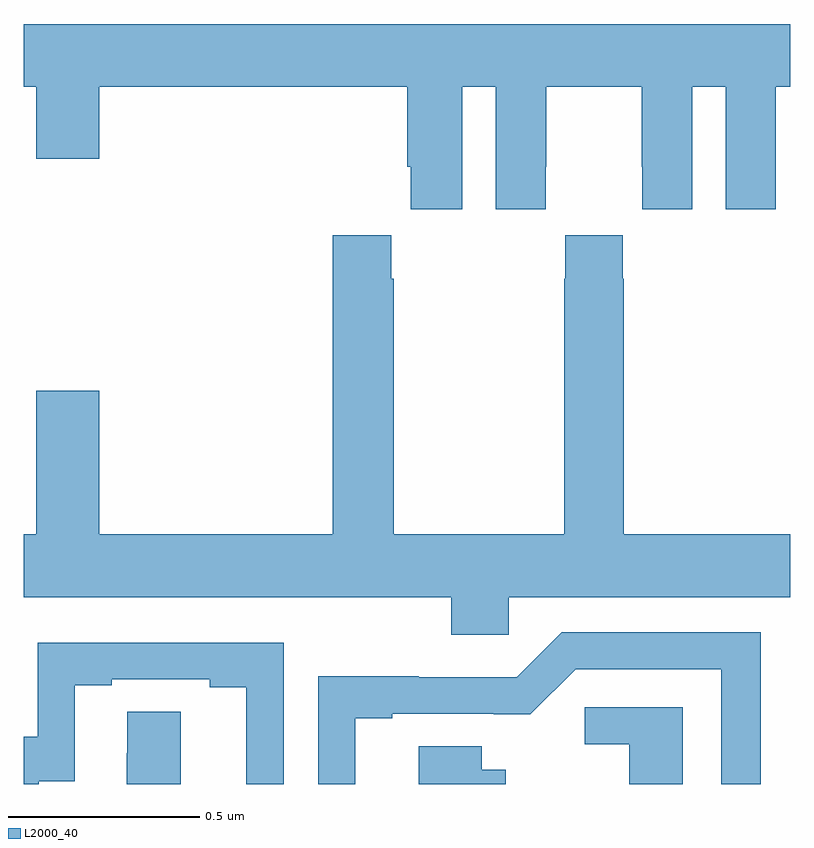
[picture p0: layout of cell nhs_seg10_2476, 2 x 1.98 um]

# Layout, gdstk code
import gdstk
lib = gdstk.Library(unit=1e-6, precision=1e-09)
def P(c, l, *ps):  # polygons
    for p in ps: c.add(gdstk.Polygon(p, *l))
L2000_40 = (2000, 40)

nhs_seg10_2476 = lib.new_cell('nhs_seg10_2476')
P(nhs_seg10_2476, L2000_40, [(142.144,1296.32),(142.232,1296.32),(142.232,1296),(142.362,1296),(142.362,1296.112),(142.363,1296.112),(142.363,1296.32),(142.613,1296.32),(142.613,1296.112),(142.614,1296.112),(142.614,1296),(142.744,1296),(142.744,1296.32),(142.832,1296.32),(142.832,1296),(142.962,1296),(142.962,1296.112),(142.963,1296.112),(142.963,1296.32),(143,1296.32),(143,1296.484),(141,1296.484),(141,1296.32),(141.032,1296.32),(141.032,1296.132),(141.196,1296.132),(141.196,1296.32),(142.001,1296.32),(142.001,1296.112),(142.01,1296.112),(142.01,1296),(142.144,1296)],
  [(142.266,1294.988),(143,1294.988),(143,1295.152),(142.566,1295.152),(142.566,1295.819),(142.563,1295.819),(142.563,1295.932),(142.413,1295.932),(142.413,1295.819),(142.411,1295.819),(142.411,1295.152),(141.966,1295.152),(141.966,1295.819),(141.959,1295.819),(141.959,1295.932),(141.806,1295.932),(141.806,1295.152),(141.196,1295.152),(141.196,1295.527),(141.032,1295.527),(141.032,1295.152),(141,1295.152),(141,1294.988),(142.115,1294.988),(142.115,1294.89),(142.266,1294.89)],
  [(141.865,1294.671),(141.961,1294.671),(141.961,1294.683),(142.226,1294.683),(142.226,1294.682),(142.322,1294.682),(142.44,1294.8),(142.82,1294.8),(142.82,1294.5),(142.924,1294.5),(142.924,1294.896),(142.404,1294.896),(142.287,1294.779),(142.031,1294.779),(142.031,1294.781),(141.768,1294.781),(141.768,1294.5),(141.865,1294.5)],
  [(141.039,1294.507),(141.133,1294.507),(141.133,1294.758),(141.229,1294.758),(141.229,1294.773),(141.485,1294.773),(141.485,1294.753),(141.581,1294.753),(141.581,1294.5),(141.678,1294.5),(141.678,1294.869),(141.036,1294.869),(141.036,1294.623),(141,1294.623),(141,1294.5),(141.039,1294.5)],
  [(142.72,1294.701),(142.464,1294.701),(142.464,1294.604),(142.58,1294.604),(142.58,1294.5),(142.72,1294.5)],
  [(141.409,1294.688),(141.27,1294.688),(141.27,1294.58),(141.269,1294.58),(141.269,1294.5),(141.409,1294.5)],
  [(142.258,1294.537),(142.195,1294.537),(142.195,1294.598),(142.031,1294.598),(142.031,1294.5),(142.258,1294.5)])

lib.write_gds('nhs_seg10_2476.gds')
